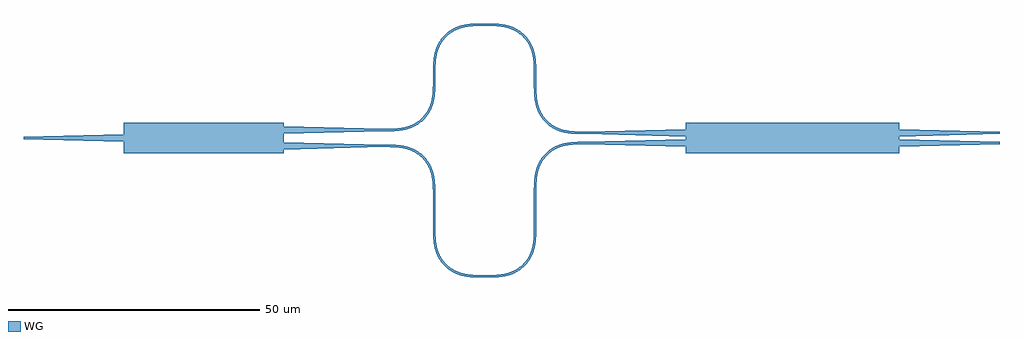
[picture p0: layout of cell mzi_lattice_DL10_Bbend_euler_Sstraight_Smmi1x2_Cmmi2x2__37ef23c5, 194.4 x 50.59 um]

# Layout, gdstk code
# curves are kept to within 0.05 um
from math import pi, radians
import gdstk
lib = gdstk.Library(unit=1e-6, precision=1e-09)
def R(c, l, rs):  # rectangles x0, y0, x1, y1
    for r in rs: c.add(gdstk.rectangle(r[:2], r[2:], *l))
def P(c, l, *ps):  # polygons
    for p in ps: c.add(gdstk.Polygon(p, *l))
WG = (3, 0)

mmi1x2_wnone_wt1p5_lt20_ = lib.new_cell('mmi1x2_WNone_WT1p5_LT20_LMNone_WM6_GMNone_LSNone_CSstrip_cband')
R(mmi1x2_wnone_wt1p5_lt20_, WG, [(0,-3,31.8,3)])
P(mmi1x2_wnone_wt1p5_lt20_, WG, [(0,-0.75),(-20,-0.225),(-20,0.225),(0,0.75)],
  [(31.8,0.82),(31.8,2.32),(51.8,1.795),(51.8,1.345)],
  [(31.8,-2.32),(31.8,-0.82),(51.8,-1.345),(51.8,-1.795)])

bend_euler_rnone_a90_p0p = lib.new_cell('bend_euler_RNone_A90_P0p5_WNone_CSstrip_cband_AMRVFalse')
P(bend_euler_rnone_a90_p0p, WG, [(0,-0.225),(0,0.225),(1.656,0.244),(3.019,0.344),(4.09,0.525),(4.998,0.782),(5.742,1.091),(6.444,1.484),(7.592,2.408),(8.516,3.556),(8.909,4.258),(9.218,5.002),(9.475,5.91),(9.656,6.981),(9.756,8.344),(9.775,10),(10.225,10),(10.133,7.208),(9.999,6.229),(9.773,5.261),(9.434,4.322),(9.044,3.557),(8.568,2.844),(7.911,2.089),(7.156,1.432),(6.443,0.956),(5.678,0.566),(4.739,0.227),(3.771,0.001),(2.792,-0.133)])

straight_l1_csstrip_cban = lib.new_cell('straight_L1_CSstrip_cband_WNone_N2')
R(straight_l1_csstrip_cban, WG, [(0,-0.225,1,0.225)])

straight_l6_csstrip_cban = lib.new_cell('straight_L6_CSstrip_cband_WNone_N2')
R(straight_l6_csstrip_cban, WG, [(0,-0.225,6,0.225)])

straight_l0p1_csstrip_cb = lib.new_cell('straight_L0p1_CSstrip_cband_WNone_N2')
R(straight_l0p1_csstrip_cb, WG, [(0,-0.225,0.1,0.225)])

mmi2x2_wnone_wt1p5_lt20_ = lib.new_cell('mmi2x2_WNone_WT1p5_LT20_LMNone_WM6_GMNone_LSNone_CSstrip_cband')
R(mmi2x2_wnone_wt1p5_lt20_, WG, [(0,-3,42.5,3)])
P(mmi2x2_wnone_wt1p5_lt20_, WG, [(0,-1.765),(-20,-1.24),(-20,-0.79),(0,-0.265)],
  [(0,0.265),(-20,0.79),(-20,1.24),(0,1.765)],
  [(42.5,0.265),(42.5,1.765),(62.5,1.24),(62.5,0.79)],
  [(42.5,-1.765),(42.5,-0.265),(62.5,-0.79),(62.5,-1.24)])

straight_l1p555_csstrip_ = lib.new_cell('straight_L1p555_CSstrip_cband_WNone_N2')
R(straight_l1p555_csstrip_, WG, [(0,-0.225,1.555,0.225)])

straight_l6p555_csstrip_ = lib.new_cell('straight_L6p555_CSstrip_cband_WNone_N2')
R(straight_l6p555_csstrip_, WG, [(0,-0.225,6.555,0.225)])

mzi_lattice_dl10_bbend_e = lib.new_cell('mzi_lattice_DL10_Bbend_euler_Sstraight_Smmi1x2_Cmmi2x2__37ef23c5')
mzi_lattice_dl10_bbend_e.add(gdstk.Reference(mmi1x2_wnone_wt1p5_lt20_, (0,0)))
mzi_lattice_dl10_bbend_e.add(gdstk.Reference(bend_euler_rnone_a90_p0p, (51.8,-1.57), x_reflection=True))
mzi_lattice_dl10_bbend_e.add(gdstk.Reference(bend_euler_rnone_a90_p0p, (61.8,-17.57), rotation=3*pi/2))
mzi_lattice_dl10_bbend_e.add(gdstk.Reference(bend_euler_rnone_a90_p0p, (51.8,1.57)))
mzi_lattice_dl10_bbend_e.add(gdstk.Reference(bend_euler_rnone_a90_p0p, (71.8,22.57), rotation=pi))
mzi_lattice_dl10_bbend_e.add(gdstk.Reference(bend_euler_rnone_a90_p0p, (81.9,12.57), rotation=pi/2))
mzi_lattice_dl10_bbend_e.add(gdstk.Reference(bend_euler_rnone_a90_p0p, (81.9,11.015), rotation=3*pi/2))
mzi_lattice_dl10_bbend_e.add(gdstk.Reference(bend_euler_rnone_a90_p0p, (71.9,-27.57)))
mzi_lattice_dl10_bbend_e.add(gdstk.Reference(bend_euler_rnone_a90_p0p, (91.9,-1.015), rotation=pi))
mzi_lattice_dl10_bbend_e.add(gdstk.Reference(straight_l1_csstrip_cban, (61.8,11.57), rotation=pi/2))
mzi_lattice_dl10_bbend_e.add(gdstk.Reference(straight_l6_csstrip_cban, (61.8,-11.57), rotation=3*pi/2))
mzi_lattice_dl10_bbend_e.add(gdstk.Reference(straight_l0p1_csstrip_cb, (71.8,22.57)))
mzi_lattice_dl10_bbend_e.add(gdstk.Reference(straight_l0p1_csstrip_cb, (71.8,-27.57)))
mzi_lattice_dl10_bbend_e.add(gdstk.Reference(mmi2x2_wnone_wt1p5_lt20_, (154.4,0), rotation=pi, x_reflection=True))
mzi_lattice_dl10_bbend_e.add(gdstk.Reference(straight_l1p555_csstrip_, (81.9,11.015), rotation=pi/2))
mzi_lattice_dl10_bbend_e.add(gdstk.Reference(straight_l6p555_csstrip_, (81.9,-17.57), rotation=pi/2))

lib.write_gds('mzi_lattice_DL10_Bbend_euler_Sstraight_Smmi1x2_Cmmi2x2__37ef23c5.gds')
